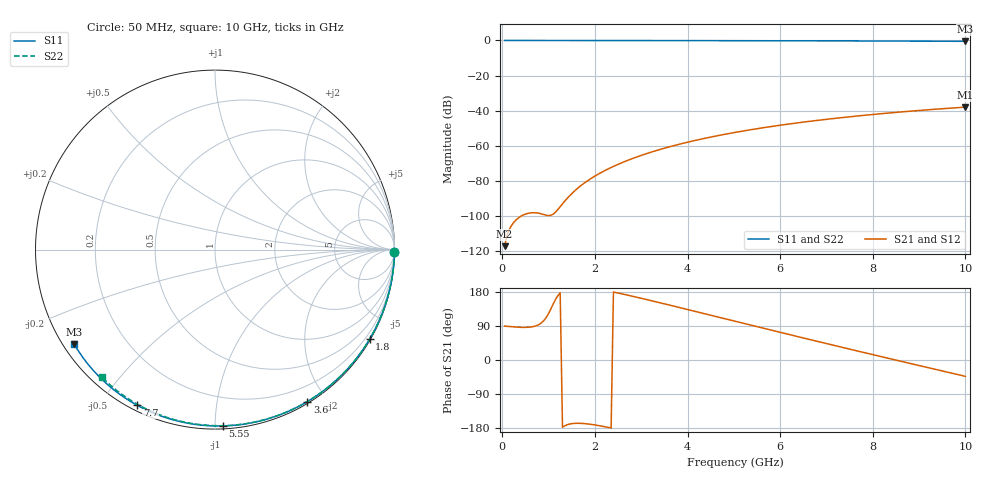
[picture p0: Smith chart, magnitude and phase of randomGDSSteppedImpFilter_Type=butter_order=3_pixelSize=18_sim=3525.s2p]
! freq	dB(S11)	phase(S11)	dB(S12)	phase(S12)
!  dB(S21)	phase(S21)	dB(S22)	phase(S22)
!S-par simulation data
#  GHz  S  DB  R 50
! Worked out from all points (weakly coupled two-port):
!   200 points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, 50 MHz to 10 GHz, reference 50 ohm
!   highest |S21| = -37.92 dB at 10 GHz (marker M1); lowest = -117.0 dB at 50 MHz (marker M2)
!   lowest |S11| = -0.5 dB at 10 GHz (marker M3), VSWR 35.32, Z = 1.55 - j15.2 ohm
!   |S11| at or under -10 dB: nowhere
!   |S22| runs from -0.4 to 0.0 dB; largest |S21 - S12| = 0
!   S11 on the Smith chart (normalised r, x): 50 MHz: open; 1.8 GHz: 0.03, -3.72; 3.6 GHz: 0.02, -1.78; 5.55 GHz: 0.02, -1.05; 7.7 GHz: 0.02, -0.62; 10 GHz: 0.03, -0.30
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0.05  -0.00 -0.9  -117.00 89.5  -117.00 89.5  -0.00 -0.8
0.45  -0.01 -7.6  -99.31 86.0  -99.31 86.0  -0.01 -6.8
0.9  -0.02 -15.2  -99.04 104.4  -99.04 104.4  -0.02 -13.6
1.3  -0.03 -21.9  -92.91 -177.4  -92.91 -177.4  -0.02 -19.6
1.75  -0.04 -29.3  -81.51 -167.6  -81.51 -167.6  -0.03 -26.2
1.8  -0.04 -30.1  -80.55 -168.1  -80.55 -168.1  -0.03 -27.0
1.85  -0.04 -30.9  -79.64 -168.8  -79.64 -168.8  -0.04 -27.7
2.05  -0.04 -34.2  -76.35 -172.4  -76.35 -172.4  -0.04 -30.6
2.2  -0.05 -36.6  -74.20 -175.7  -74.20 -175.7  -0.04 -32.8
2.55  -0.05 -42.3  -69.88 175.4  -69.88 175.4  -0.05 -37.9
2.95  -0.06 -48.6  -65.83 164.3  -65.83 164.3  -0.06 -43.6
3.4  -0.07 -55.6  -62.04 151.2  -62.04 151.2  -0.07 -50.0
3.6  -0.08 -58.7  -60.55 145.2  -60.55 145.2  -0.07 -52.8
4.3  -0.10 -69.3  -56.07 124.2  -56.07 124.2  -0.09 -62.3
5.05  -0.12 -80.3  -52.18 101.6  -52.18 101.6  -0.11 -72.3
5.55  -0.14 -87.4  -49.98 86.5  -49.98 86.5  -0.13 -78.8
6.1  -0.17 -95.1  -47.84 70.0  -47.84 70.0  -0.15 -85.8
6.7  -0.20 -103.3  -45.78 52.2  -45.78 52.2  -0.18 -93.2
7.7  -0.27 -116.5  -42.87 22.8  -42.87 22.8  -0.24 -105.2
8.35  -0.32 -125.0  -41.25 4.0  -41.25 4.0  -0.29 -112.8
9.2  -0.40 -135.9  -39.41 -20.3  -39.41 -20.3  -0.36 -122.6
10  -0.49 -146.2  -37.92 -43.2  -37.92 -43.2  -0.45 -131.7
